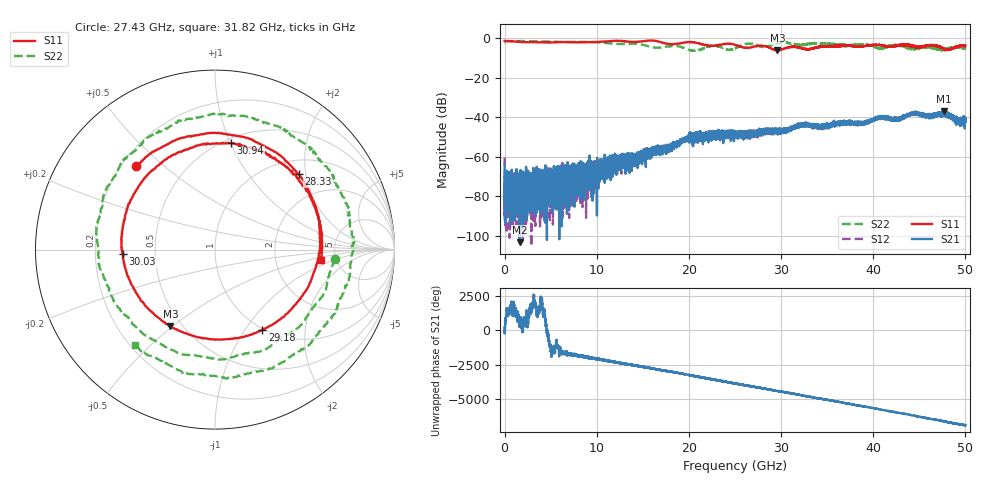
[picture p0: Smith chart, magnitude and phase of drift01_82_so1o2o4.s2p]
!Created with skrf (http://scikit-rf.org).
# Hz S RI R 50.0
!freq ReS11 ImS11 ReS21 ImS21 ReS12 ImS12 ReS22 ImS22
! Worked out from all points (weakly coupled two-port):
!   10001 points, 300 kHz to 50 GHz, reference 50 ohm
!   highest |S21| = -37.00 dB at 47.66 GHz (marker M1); lowest = -103.3 dB at 1.63 GHz (marker M2)
!   lowest |S11| = -6.1 dB at 29.61 GHz (marker M3), VSWR 2.94, Z = 21.8 - j24.5 ohm
!   |S11| at or under -10 dB: nowhere
!   |S22| runs from -6.4 to -1.3 dB; largest |S21 - S12| = 0.0037
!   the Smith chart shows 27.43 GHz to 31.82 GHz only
!   S11 on the Smith chart (normalised r, x): 27.43 GHz: 0.26, +0.41; 28.33 GHz: 1.32, +1.82; 29.18 GHz: 0.98, -1.20; 30.03 GHz: 0.32, -0.02; 30.94 GHz: 0.54, +1.00; 31.82 GHz: 3.79, -0.66
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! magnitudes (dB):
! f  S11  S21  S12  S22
! 300 kHz  -1.3  -63.7  -60.3  -2.1
! 255.3 MHz  -1.4  -76.6  -75.8  -1.4
! 1.63 GHz  -1.8  -103.3  -76.9  -1.4
! 5.38 GHz  -2.0  -71.4  -86.0  -1.7
! 8.335 GHz  -2.0  -76.0  -68.0  -1.8
! 10.1 GHz  -1.8  -66.0  -62.5  -2.0
! 14.05 GHz  -1.8  -62.3  -60.9  -2.7
! 16.67 GHz  -1.6  -56.9  -57.6  -4.8
! 20.3 GHz  -1.9  -49.1  -48.8  -6.1
! 22.62 GHz  -3.8  -48.7  -49.6  -3.8
! 25 GHz  -3.2  -48.5  -49.5  -5.0
! 27.43 GHz  -3.9  -48.5  -47.8  -3.5
! 28.33 GHz  -4.1  -46.8  -46.9  -4.3
! 29.18 GHz  -5.7  -46.3  -46.5  -3.0
! 29.61 GHz  -6.1  -48.0  -47.3  -2.6
! 30.03 GHz  -5.8  -47.8  -46.8  -2.3
! 30.94 GHz  -4.4  -45.8  -45.8  -2.4
! 31.82 GHz  -4.5  -43.2  -44.2  -3.2
! 33.34 GHz  -5.2  -44.8  -44.5  -2.6
! 41.67 GHz  -4.3  -40.5  -41.0  -3.9
! 47.66 GHz  -5.3  -37.0  -38.6  -5.6
! 50 GHz  -3.7  -41.7  -40.9  -5.2
